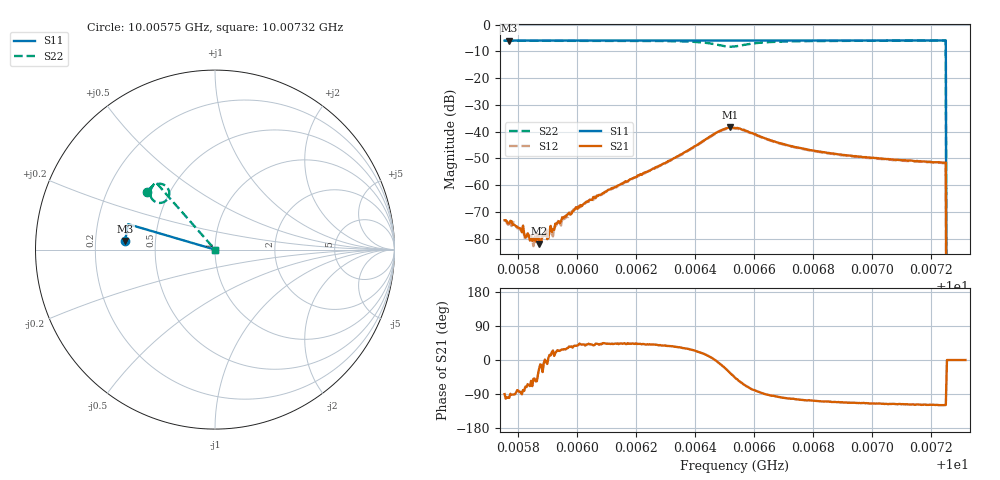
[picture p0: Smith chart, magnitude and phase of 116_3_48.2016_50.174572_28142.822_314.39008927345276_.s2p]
#  HZ  S  RI  R  50.00
! Rohde & Schwarz Vector Network Analyzer
! Rohde-Schwarz,ZNB20-2Port,1311601062101988,3.16
! Created: UTC 3/20/2024, 11:41:13 AM
! freq[Hz]  re:S11  im:S11  re:S21  im:S21  re:S12  im:S12  re:S22  im:S22
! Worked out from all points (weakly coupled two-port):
!   401 points, 10.00575 GHz to 10.00732 GHz, reference 50 ohm
!   highest |S21| = -38.40 dB at 10.00652 GHz (marker M1); lowest = -81.9 dB at 10.00587 GHz (marker M2)
!   lowest |S11| = -6.0 dB at 10.00577 GHz (marker M3), VSWR 3.01, Z = 16.7 + j2.12 ohm
!   |S11| at or under -10 dB: 10.00725 GHz to end of sweep
!   |S22| runs from - to -6.0 dB; largest |S21 - S12| = 0.00085
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1.0005754e10  -0.499 0.0466  -4.44e-07 -0.000221  3.14e-05 -0.000223  -0.3787 0.3227
1.000577e10  -0.4988 0.0476  -3.27e-05 -0.00019  -9.36e-06 -0.000213  -0.378 0.3237
1.0005809e10  -0.4988 0.0502  1.65e-05 -0.000153  6.64e-05 -0.000143  -0.3759 0.3261
1.0005829e10  -0.4986 0.0514  3.51e-05 -0.000104  3.41e-05 -0.000104  -0.375 0.3274
1.0005848e10  -0.4985 0.0526  3.24e-05 -8.41e-05  7.04e-05 -6.51e-05  -0.3739 0.3285
1.0005872e10  -0.4983 0.0543  7.42e-05 -3.1e-05  9.29e-05 -3.77e-05  -0.3726 0.3301
1.0005895e10  -0.4981 0.0558  0.000149 -1.32e-05  0.000128 1.07e-06  -0.3713 0.3315
1.0005922e10  -0.4982 0.0575  0.000144 2.7e-05  0.000146 7.14e-05  -0.3697 0.3332
1.000593e10  -0.498 0.058  0.000175 7.25e-05  0.000176 3.53e-05  -0.3693 0.334
1.0006016e10  -0.4975 0.0636  0.00031 0.000262  0.000331 0.000279  -0.3638 0.3397
1.000611e10  -0.497 0.0697  0.000602 0.000563  0.00058 0.000569  -0.3568 0.3465
1.0006278e10  -0.4954 0.0808  0.00178 0.00144  0.00168 0.00149  -0.3365 0.3605
1.0006434e10  -0.4937 0.0907  0.0068 0.00179  0.00656 0.00208  -0.2814 0.3594
1.0006485e10  -0.4926 0.0938  0.0102 -0.00179  0.01 -0.0012  -0.2551 0.3202
1.000652e10  -0.4922 0.0954  0.00983 -0.00692  0.0098 -0.00607  -0.2695 0.2761
1.0006536e10  -0.4922 0.0963  0.00802 -0.00851  0.00836 -0.00784  -0.2876 0.2639
1.0006621e10  -0.4921 0.1015  0.000588 -0.00804  0.000948 -0.00788  -0.3548 0.2888
1.0006797e10  -0.4902 0.1131  -0.00131 -0.00427  -0.00112 -0.00421  -0.3565 0.3375
1.0007059e10  -0.4867 0.1296  -0.00133 -0.00275  -0.00118 -0.00273  -0.3406 0.3635
1.0007242e10  -0.484 0.1411  -0.00128 -0.00229  -0.00116 -0.00231  -0.3306 0.3754
1.0007262e10  0 0  0 0  0 0  0 0
1.0007317e10  0 0  0 0  0 0  0 0
